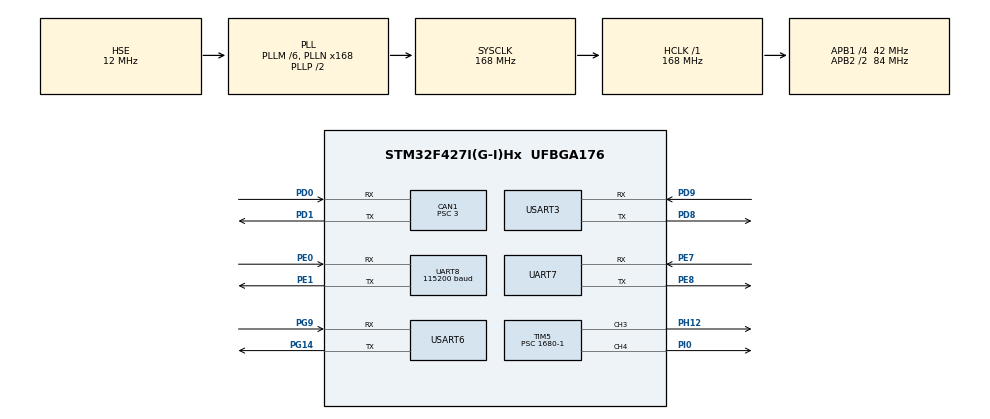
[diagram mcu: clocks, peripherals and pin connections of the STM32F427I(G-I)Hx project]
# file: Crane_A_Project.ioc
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CAN1.BS1=CAN_BS1_10TQ
CAN1.BS2=CAN_BS2_3TQ
CAN1.CalculateBaudRate=1000000
CAN1.CalculateTimeBit=1000
CAN1.CalculateTimeQuantum=71.42857142857143
CAN1.Prescaler=3
Mcu.Family=STM32F4
Mcu.Name=STM32F427I(G-I)Hx
Mcu.Package=UFBGA176
NVIC.CAN1_RX0_IRQn=true\:0\:0\:false\:false\:true\:true\:true\:true
NVIC.PriorityGroup=NVIC_PRIORITYGROUP_4
NVIC.TIM6_DAC_IRQn=true\:0\:0\:false\:false\:true\:true\:true\:true
NVIC.TIM7_IRQn=true\:0\:0\:false\:false\:true\:true\:true\:true
NVIC.UART7_IRQn=true\:0\:0\:false\:false\:true\:true\:true\:true
NVIC.UART8_IRQn=true\:0\:0\:false\:false\:true\:true\:true\:true
NVIC.USART6_IRQn=true\:0\:0\:false\:false\:true\:true\:true\:true
PA13.Mode=Serial_Wire
PA13.Signal=SYS_JTMS-SWDIO
PA14.Mode=Serial_Wire
PA14.Signal=SYS_JTCK-SWCLK
PD0.Mode=CAN_Activate
PD0.Signal=CAN1_RX
PD1.Mode=CAN_Activate
PD1.Signal=CAN1_TX
PD8.Mode=Asynchronous
PD8.Signal=USART3_TX
PD9.Mode=Asynchronous
PD9.Signal=USART3_RX
PE0.Mode=Asynchronous
PE0.Signal=UART8_RX
PE1.Mode=Asynchronous
PE1.Signal=UART8_TX
PE7.Mode=Asynchronous
PE7.Signal=UART7_RX
PE8.Mode=Asynchronous
PE8.Signal=UART7_TX
PG14.Mode=Asynchronous
PG14.Signal=USART6_TX
PG9.Mode=Asynchronous
PG9.Signal=USART6_RX
PH0/OSC_IN.Mode=HSE-External-Oscillator
PH0/OSC_IN.Signal=RCC_OSC_IN
PH1/OSC_OUT.Mode=HSE-External-Oscillator
PH1/OSC_OUT.Signal=RCC_OSC_OUT
PH12.Signal=S_TIM5_CH3
PI0.Signal=S_TIM5_CH4
ProjectManager.HeapSize=0x200
ProjectManager.StackSize=0x400
ProjectManager.TargetToolchain=MDK-ARM V5
RCC.48MHZClocksFreq_Value=84000000
RCC.AHBFreq_Value=168000000
RCC.APB1CLKDivider=RCC_HCLK_DIV4
RCC.APB1Freq_Value=42000000
RCC.APB1TimFreq_Value=84000000
RCC.APB2CLKDivider=RCC_HCLK_DIV2
RCC.APB2Freq_Value=84000000
RCC.APB2TimFreq_Value=168000000
RCC.CortexFreq_Value=168000000
RCC.HCLKFreq_Value=168000000
RCC.HSE_VALUE=12000000
RCC.HSI_VALUE=16000000
RCC.LSE_VALUE=32768
RCC.PLLM=6
RCC.PLLN=168
RCC.PLLSourceVirtual=RCC_PLLSOURCE_HSE
RCC.SYSCLKFreq_VALUE=168000000
RCC.SYSCLKSource=RCC_SYSCLKSOURCE_PLLCLK
RCC.VCOOutputFreq_Value=336000000
SH.S_TIM5_CH3.0=TIM5_CH3,PWM Generation3 CH3
SH.S_TIM5_CH4.0=TIM5_CH4,PWM Generation4 CH4
TIM5.Channel-PWM\ Generation3\ CH3=TIM_CHANNEL_3
TIM5.Channel-PWM\ Generation4\ CH4=TIM_CHANNEL_4
TIM5.Period=1000-1
TIM5.Prescaler=1680-1
TIM6.Period=1000 -1
TIM6.Prescaler=84 - 1
TIM7.Period=1000 - 1
TIM7.Prescaler=84 - 1
UART7.VirtualMode=Asynchronous
UART8.BaudRate=115200
UART8.VirtualMode=Asynchronous
USART3.VirtualMode=VM_ASYNC
USART6.VirtualMode=VM_ASYNC
VP_TIM5_VS_ClockSourceINT.Mode=Internal
VP_TIM6_VS_ClockSourceINT.Mode=Enable_Timer
VP_TIM7_VS_ClockSourceINT.Mode=Enable_Timer
board=custom

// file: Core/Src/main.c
/* USER CODE BEGIN Header */
/**
  ******************************************************************************
  * @file           : main.c
  * @brief          : Main program body
  ******************************************************************************
  * @attention
  *
  * Copyright (c) 2024 STMicroelectronics.
  * All rights reserved.
  *
  * This software is licensed under terms that can be found in the LICENSE file
  * in the root directory of this software component.
  * If no LICENSE file comes with this software, it is provided AS-IS.
  *
  ******************************************************************************
  */
/* USER CODE END Header */
#include "main.h"
#include "can.h"
#include "tim.h"
#include "usart.h"
#include "gpio.h"

/* USER CODE BEGIN Includes */
#include "Emm_V5.h"
#include "stdio.h"
#include "CAN_receive.h"
#include "bsp_can.h"
#include "PID.h"
#include "centre.h"
#include "work.h"
/* USER CODE END Includes */

/* USER CODE BEGIN PTD */

/**
  ******************************************************************************
  * @author         : MashiroZZZ
  * @name           : HaoRan Zhu, Xi Cheng(Vision),KuanXi Huang(PUBG Player)
  * @copyright      : RoboMaster-Base
  ******************************************************************************
  * @attention
  * All rights reserved.
  ******************************************************************************
          _____                    _____
         /\    \                  /\    \
        /::\    \                /::\____\
       /::::\    \              /::::|   |
      /::::::\    \            /:::::|   |
     /:::/\:::\    \          /::::::|   |
    /:::/__\:::\    \        /:::/|::|   |
   /::::\   \:::\    \      /:::/ |::|   |
  /::::::\   \:::\    \    /:::/  |::|___|______
 /:::/\:::\   \:::\____\  /:::/   |::::::::\    \
/:::/  \:::\   \:::|    |/:::/    |:::::::::\____\
\::/   |::::\  /:::|____|\::/    / ~~~~~/:::/    /
 \/____|:::::\/:::/    /  \/____/      /:::/    /
       |:::::::::/    /               /:::/    /
       |::|\::::/    /               /:::/    /
       |::| \::/____/               /:::/    /
       |::|  ~|                    /:::/    /
       |::|   |                   /:::/    /
       \::|   |                  /:::/    /
        \:|   |                  \::/    /
         \|___|                   \/____/

*/

/* USER CODE END PTD */

/* USER CODE BEGIN PD */
#define Motor_Initialization          1
#define Check_Begin_Position          1
#define Check_First_Forward           1
#define Check_First_PullDown          1
#define Check_First_Forward_2_Centre  1
#define Check_Gimbal_CW_First         1
#define Check_First_Centre_Position   1
#define Check_Gimbal_CW_Twice         1
#define Check_Centre_2_Destination    1
#define Check_Twice_PullDown          1
#define Check_Destination_2_Centre    1
#define Check_Gimbal_CW_Third         1
#define Check_Twice_Centre_Position   1
#define Check_Gimbal_CCW_First        1
#define Check_Centre_2_END            1
#define Check_Last_PullDOWN           1
/* USER CODE END PD */

/* USER CODE BEGIN PV */

//串级PID结构体
Cascade_PID gimbal_pid,chassis_pid_1,chassis_pid_2; //云台电机与轮子电机
//电机数据结构体 第三个可以作废 最后修正
MOTOR motor[3];
uint8_t avr_flag = 0;  	//平均速度计数标志位 最后要作废

uint8_t Check_Position_A = 0; //A舵机 行进标志位
uint8_t Check_Position_B = 0; //B舵机 行进标志位
uint8_t Check_Position_C = 0; //C底盘电机 行进标志位

uint8_t First_Time = 0;

//三个M3508电机的PID计算值
int p1 = 0 ;
int p2 = 0 ;
int p3 = 0 ;

//数组存储行进位置标记以及钩取砝码位置确认信息

uint8_t rxBuffer_A[2] = {0};	//接收A处舵机下，
uint8_t rxBuffer_B[2] = {0};	//接收B处舵机下，
uint8_t rxBuffer_C[2] = {0};	//接收导轨黑色停止胶带位置数组

//即将废弃
int16_t num[5][2] = {{18,18},{42,42},{60,60},{58,58},{129,129}}; // 计算数据 暂未实践检验
int32_t CurrentAngle[5][2];	//计算电角度

//标志位
uint16_t Tx_Time = 0;
uint8_t first_flag = 0; //第一次上电标志位 用于记录首次上电电角度

uint8_t SteppingTime = 0;
uint32_t sign,gimbal;		//定时器中断计数值

/* USER CODE END PV */

void SystemClock_Config(void);

int main(void)
{

  /* MCU Configuration--------------------------------------------------------*/

  /* Reset of all peripherals, Initializes the Flash interface and the Systick. */
  HAL_Init();

  /* Configure the system clock */
  SystemClock_Config();

  /* Initialize all configured peripherals */
  MX_GPIO_Init();
  MX_CAN1_Init();
  MX_UART7_Init();
  MX_UART8_Init();
  MX_USART3_UART_Init();
  MX_TIM5_Init();
  MX_TIM6_Init();
  MX_TIM7_Init();
  MX_USART6_UART_Init();
  /* USER CODE BEGIN 2 */

	//启动PWM 控制舵机

	//A处舵机
	HAL_TIM_PWM_Start(&htim5,TIM_CHANNEL_4);
	//B处舵机
	HAL_TIM_PWM_Start(&htim5,TIM_CHANNEL_3);

	//启动CAN通信
	can_filter_init();

	//初始化2个位置的M3508
	cheel_init();

	//开启接收中断
	HAL_UART_Receive_IT(&huart7,rxBuffer_A,sizeof(uint8_t));	//接受A处舵机有无货物数据

	HAL_UART_Receive_IT(&huart8,rxBuffer_B,sizeof(uint8_t));	//接受B处舵机有无货物数据

	HAL_UART_Receive_IT(&huart6,rxBuffer_C,sizeof(uint8_t));	//接收导轨黑色停止胶带位置

	//等待电机初始化
	HAL_Delay(3000);

#if Motor_Initialization
	__HAL_TIM_SET_COMPARE(&htim5,TIM_CHANNEL_4,120);	//A处舵机(即一号舵机)	120水平 100最大
	__HAL_TIM_SET_COMPARE(&htim5,TIM_CHANNEL_3,90);	//B处舵机(即二号舵机) 90水平 120最大
	HAL_Delay(500);
	Work_Up(2,4);
	HAL_Delay(50);
	Work_Up(4,4);
	HAL_Delay(3000);
  //舵机臂初始位置为最里端  (暂定)

#endif

		//本次代码

	//检测开始位置砝码
	//钩取开始位置砝码
#if Check_Begin_Position
  if(Check_Position_A == 0)
  {
      while(rxBuffer_B[0] != '1')   //什么也没收到 一直移动
    {
      Work_Move(3,1,30);
			SteppingTime ++;
      HAL_Delay(160);
    }
    if(rxBuffer_B[0] == '1')    //收到字符1 即为检测到砝码
    {

      Work_Straight(2);
      Check_Position_A = 1;
			if(SteppingTime >28)
			{
				SteppingTime = 0;
				Work_Move(3,0,200);
				HAL_Delay(1500);
			}
			else if (SteppingTime <10)
			{
				SteppingTime = 0;
				Work_Move(3,1,120);
				HAL_Delay(1500);
			}
			else
			{
				SteppingTime = 0;
			}
      rxBuffer_B[0] = '3';    //修改为无意义标识
    }
  }

#endif

//云台前进至钩子在中心物块正上方
#if Check_First_Forward
  if(Check_Position_C == 0)
  {
    while(rxBuffer_C[0] != '1')   //什么也没收到 一直移动
      {
      HAL_Delay(1);
      p1 = PID_calc(&chassis_pid_1.inner,motor[0].speed_rpm,500);
      p2 = PID_calc(&chassis_pid_2.inner,motor[1].speed_rpm,-500);
      CAN_cmd_chassis(p1,p2,0,0);
      }
    if(rxBuffer_C[0] == '1')    //收到字符1 即为检测到停止标识
    {
			Check_Position_C = 1;
        HAL_TIM_Base_Start_IT(&htim6);
      while(sign <1500)
      {
      HAL_Delay(1);
      p1 = PID_calc(&chassis_pid_1.inner,motor[0].speed_rpm,0);
      p2 = PID_calc(&chassis_pid_2.inner,motor[1].speed_rpm,-0);
      CAN_cmd_chassis(p1,p2,0,0);
      }
    }
  }

#endif
  //放下砝码
#if Check_First_PullDown
	if(Check_Position_A == 1)
	{

		HAL_TIM_Base_Stop_IT(&htim6);
		sign = 0;

		while(rxBuffer_B[0] != '2')
		{
		Work_Move(3,1,20);
		HAL_Delay(100);
		}
		if(rxBuffer_B[0] == '2')    //收到字符2 即为检测到木桩
		{
			HAL_Delay(50);
	  	__HAL_TIM_SET_COMPARE(&htim5,TIM_CHANNEL_3,90);
      HAL_Delay(300);
			Work_Move(3,1,15);
			HAL_Delay(1500);
			Work_PullDown(2,2);
			Check_Position_A = 2;
			HAL_Delay(1500);
			rxBuffer_B[0] = '3';    //修改为无意义标识
			HAL_TIM_Base_Start_IT(&htim6);
			}
	}
#endif
	//云台前进至云台位于中心物块正上方
#if Check_First_Forward_2_Centre
	if(Check_Position_C == 1)
	{

		while(sign<500)
		{
			HAL_Delay(1);
			p1 = PID_calc(&chassis_pid_1.inner,motor[0].speed_rpm,500);
			p2 = PID_calc(&chassis_pid_2.inner,motor[1].speed_rpm,-500);
			CAN_cmd_chassis(p1,p2,0,0);

			}
			rxBuffer_C[0] = 0;
			HAL_TIM_Base_Stop_IT(&htim6);
			sign = 0;
			while(rxBuffer_C[0] != '1')
			{
				HAL_Delay(1);
				p1 = PID_calc(&chassis_pid_1.inner,motor[0].speed_rpm,500);
				p2 = PID_calc(&chassis_pid_2.inner,motor[1].speed_rpm,-500);
				CAN_cmd_chassis(p1,p2,0,0);

			}
		if(rxBuffer_C[0] == '1')    //收到字符1 即为检测到停止标识
    {
			Check_Position_C = 2;
      HAL_TIM_Base_Start_IT(&htim6);

      while(sign <1500)
      {
      HAL_Delay(1);
      p1 = PID_calc(&chassis_pid_1.inner,motor[0].speed_rpm,0);
      p2 = PID_calc(&chassis_pid_2.inner,motor[1].speed_rpm,-0);
      CAN_cmd_chassis(p1,p2,0,0);
      }
    }

	}
#endif

	//云台顺时针移动60度
#if Check_Gimbal_CW_First
	if(Check_Position_C == 2)
	{
		HAL_TIM_Base_Stop_IT(&htim6);	//关闭定时器6 停止轮子行进计数
		sign = 0;
		Check_Position_C = 3;

		Work_Move(3,1,130);
		HAL_Delay(50);
    Work_Move(1,0,480);
		Emm_V5_Pos_Control(5,1,500,175,1068,0,0);	//电机逆时针旋转  云台顺时针旋转  534为30度
		HAL_Delay(4000);

	}
#endif

	// 由外向内检测顺时针30度方向砝码
#if Check_First_Centre_Position
  if(Check_Position_A == 2)
  {
      while(rxBuffer_B[0] != '1')   //什么也没收到 一直移动
    {
      Work_Move(3,0,30);
			SteppingTime ++;
      HAL_Delay(160);
    }
    if(rxBuffer_B[0] == '1')    //收到字符1 即为检测到砝码
    {
      Work_Move(3,1,30);
      HAL_Delay(1500);
      Work_Straight(2);
      Check_Position_A = 3;
			if(SteppingTime >28)
			{
				SteppingTime = 0;
				Work_Move(3,1,200);
				HAL_Delay(1500);
			}
			else if (SteppingTime <10)
			{
				SteppingTime = 0;
				Work_Move(3,0,150);
				HAL_Delay(1500);
			}
			else
			{
				SteppingTime = 0;
			}
      rxBuffer_B[0] = '3';    //修改为无意义标识
    }
  }

  if(Check_Position_B == 0)
  {
      while(rxBuffer_A[0] != '1')   //什么也没收到 一直移动
    {
      Work_Move(1,1,30);
			SteppingTime ++;
      HAL_Delay(160);
    }
    if(rxBuffer_A[0] == '1')    //收到字符1 即为检测到砝码
    {
      Work_Move(1,0,30);
      HAL_Delay(1500);
      Work_Straight(1);
      Check_Position_B = 1;
			if(SteppingTime >28)
			{
				SteppingTime = 0;
				Work_Move(1,0,200);
				HAL_Delay(1500);
			}
			else if (SteppingTime <10)
			{
				SteppingTime = 0;
				Work_Move(1,1,150);
				HAL_Delay(1500);
			}
			else
			{
				SteppingTime = 0;
			}
      rxBuffer_A[0] = '3';    //修改为无意义标识
    }

  }
#endif

  //云台顺时针旋转至水平
#if Check_Gimbal_CW_Twice
	if(Check_Position_C == 3)
	{
		Check_Position_C = 4;
		Emm_V5_Pos_Control(5,1,500,175,534,0,0);	//电机逆时针旋转 云台顺时针旋转 534为60度 力臂30度
		HAL_Delay(4000);
		HAL_TIM_Base_Start_IT(&htim6);
	}
#endif

  //前进至末端
#if Check_Centre_2_Destination
   if(Check_Position_C == 4)
  {
		while(sign<6027)
		{
			HAL_Delay(1);
			p1 = PID_calc(&chassis_pid_1.inner,motor[0].speed_rpm,500);
			p2 = PID_calc(&chassis_pid_2.inner,motor[1].speed_rpm,-500);
			CAN_cmd_chassis(p1,p2,0,0);

			}

      while(sign >=5927 &&sign <6927)
      {
      HAL_Delay(1);
      p1 = PID_calc(&chassis_pid_1.inner,motor[0].speed_rpm,0);
      p2 = PID_calc(&chassis_pid_2.inner,motor[1].speed_rpm,-0);
      CAN_cmd_chassis(p1,p2,0,0);
      }
      rxBuffer_C[0] = 0;
			HAL_TIM_Base_Stop_IT(&htim6);
			sign = 0;
			Check_Position_C = 5;
    }
#endif

    //检查木桩
#if Check_Twice_PullDown
    //清除检查过程中出现的问题
    rxBuffer_A[0] = '3';
    rxBuffer_B[0] = '3';

	 if(Check_Position_A == 3)
  {
      while(rxBuffer_B[0] != '2')   //什么也没收到 一直移动
    {
      Work_Move(3,1,25);
      HAL_Delay(180);
    }
    if(rxBuffer_B[0] == '2')    //收到字符2 即为检测到木桩
    {
      //往后多走30mm
      Work_Move(3,1,30);
      HAL_Delay(1000);
	  	__HAL_TIM_SET_COMPARE(&htim5,TIM_CHANNEL_3,90);
      HAL_Delay(300);
			Work_Move(3,1,15);
			HAL_Delay(1500);
      Work_PullDown(2,3);
      Check_Position_A = 4;
      rxBuffer_B[0] = '3';
     }
  }
  	 if(Check_Position_B == 1)
  {
      while(rxBuffer_A[0] != '2')   //什么也没收到 一直移动
    {
      Work_Move(1,0,25);
      HAL_Delay(180);
    }
    if(rxBuffer_A[0] == '2')    //收到字符2 即为检测到木桩
    {
      //往后多走30mm
      Work_Move(1,0,30);
      HAL_Delay(1000);
	  	__HAL_TIM_SET_COMPARE(&htim5,TIM_CHANNEL_4,120);
      HAL_Delay(300);
			Work_Move(1,0,15);
			HAL_Delay(1500);
      Work_PullDown(1,3);
      Check_Position_B = 2;
      rxBuffer_A[0] = '3';
     }
  }
#endif

  //返回中心
#if Check_Destination_2_Centre
  if(Check_Position_C == 5)
  {
    while(rxBuffer_C[0] != '1')   //什么也没收到 一直移动
      {
      HAL_Delay(1);
      p1 = PID_calc(&chassis_pid_1.inner,motor[0].speed_rpm,-500);    //反转
      p2 = PID_calc(&chassis_pid_2.inner,motor[1].speed_rpm,500);
      CAN_cmd_chassis(p1,p2,0,0);
      }
    if(rxBuffer_C[0] == '1')    //收到字符1 即为检测到停止标识
    {
			Check_Position_C = 6;
      HAL_TIM_Base_Start_IT(&htim6);
      while(sign <1500)
      {
      HAL_Delay(1);
      p1 = PID_calc(&chassis_pid_1.inner,motor[0].speed_rpm,0);
      p2 = PID_calc(&chassis_pid_2.inner,motor[1].speed_rpm,-0);
      CAN_cmd_chassis(p1,p2,0,0);
      }
    }
  }

#endif

  //顺时针旋转30度
#if Check_Gimbal_CW_Third
  if(Check_Position_C == 6)
	{
    HAL_TIM_Base_Stop_IT(&htim6);
    sign = 0;
		Check_Position_C = 7;
		Emm_V5_Pos_Control(5,1,500,175,534,0,0);	//电机逆时针旋转  534为60度 力臂30度
		HAL_Delay(4000);

  }
#endif

    //检测逆时针30度上的砝码
#if Check_Twice_Centre_Position
  if(Check_Position_A == 4)
    {
        while(rxBuffer_B[0] != '1')   //什么也没收到 一直移动
      {
        Work_Move(3,0,30);
        SteppingTime ++;
        HAL_Delay(160);
      }
      if(rxBuffer_B[0] == '1')    //收到字符1 即为检测到砝码
      {
         Work_Move(3,1,30);
         HAL_Delay(1500);
        Work_Straight(2);
        Check_Position_A = 5;

        if(SteppingTime >28)
        {
          SteppingTime = 0;
          Work_Move(3,1,200);
          HAL_Delay(1500);
        }

        else if (SteppingTime <10)
        {
          SteppingTime = 0;
          Work_Move(3,0,150);
          HAL_Delay(1500);
        }
        else
        {
          SteppingTime = 0;
        }
        rxBuffer_B[0] = '3';    //修改为无意义标识
      }
    }
  if(Check_Position_B == 2)
    {
        while(rxBuffer_A[0] != '1')   //什么也没收到 一直移动
      {
        Work_Move(1,1,30);
        SteppingTime ++;
        HAL_Delay(160);
      }
      if(rxBuffer_A[0] == '1')    //收到字符1 即为检测到砝码
      {
        Work_Move(1,0,30);
        HAL_Delay(1500);
        Work_Straight(1);
        Check_Position_B = 3;

        if(SteppingTime >28)
        {
          SteppingTime = 0;
          Work_Move(1,0,200);
          HAL_Delay(1500);
        }

        else if (SteppingTime <10)
        {
          SteppingTime = 0;
          Work_Move(1,1,150);
          HAL_Delay(1500);
        }
        else
        {
          SteppingTime = 0;
        }
        rxBuffer_A[0] = '3';    //修改为无意义标识
      }
    }
#endif

    //云台顺时针旋转30度到达水平位置
#if Check_Gimbal_CCW_First
  if(Check_Position_C == 7)
    {
      Check_Position_C = 8;
      Emm_V5_Pos_Control(5,0,500,175,534,0,0);	//电机逆时针旋转  534为60度 力臂30度
      HAL_Delay(4000);
      HAL_TIM_Base_Start_IT(&htim6);
    }
#endif

    //电机出发!!! 到达最终目的地
#if Check_Centre_2_END
 if(Check_Position_C == 8)
  {

		while(sign<4000)
		{
			HAL_Delay(1);
			p1 = PID_calc(&chassis_pid_1.inner,motor[0].speed_rpm,-1000);
			p2 = PID_calc(&chassis_pid_2.inner,motor[1].speed_rpm,1000);
			CAN_cmd_chassis(p1,p2,0,0);

			}
			rxBuffer_C[0] = 0;
			HAL_TIM_Base_Stop_IT(&htim6);
			sign = 0;

			while(rxBuffer_C[0] != '1')
			{
				HAL_Delay(1);
				p1 = PID_calc(&chassis_pid_1.inner,motor[0].speed_rpm,-500);
				p2 = PID_calc(&chassis_pid_2.inner,motor[1].speed_rpm,500);
				CAN_cmd_chassis(p1,p2,0,0);

			}
		if(rxBuffer_C[0] == '1')    //收到字符1 即为检测到停止标识
    {
			Check_Position_C = 9;
      HAL_TIM_Base_Start_IT(&htim6);
      while(sign <1500)
      {
      HAL_Delay(1);
      p1 = PID_calc(&chassis_pid_1.inner,motor[0].speed_rpm,0);
      p2 = PID_calc(&chassis_pid_2.inner,motor[1].speed_rpm,-0);
      CAN_cmd_chassis(p1,p2,0,0);
      }
      HAL_TIM_Base_Stop_IT(&htim6);
			sign = 0;
    }
    //stop

  }
#endif

   //最后的检查----终末的下落检测
#if Check_Last_PullDOWN
    rxBuffer_A[0] = '3';
    rxBuffer_B[0] = '3';

	 if(Check_Position_A == 5)
  {
      while(rxBuffer_B[0] != '2')   //什么也没收到 一直移动
    {
      Work_Move(3,1,25);
      HAL_Delay(180);
    }
    if(rxBuffer_B[0] == '2')    //收到字符2 即为检测到木桩
    {
      Work_Move(3,1,30);
      HAL_Delay(1000);
	  	__HAL_TIM_SET_COMPARE(&htim5,TIM_CHANNEL_3,90);
			Work_Move(3,1,15);
			HAL_Delay(1500);
      Work_PullDown(2,3);
      Check_Position_A = 6;
      rxBuffer_B[0] = '3';
     }
  }
  if(Check_Position_B == 3)
    {
        while(rxBuffer_A[0] != '2')   //什么也没收到 一直移动
      {
        Work_Move(1,0,25);
        HAL_Delay(180);
      }
      if(rxBuffer_A[0] == '2')    //收到字符2 即为检测到木桩
      {
        Work_Move(1,0,30);
        HAL_Delay(1000);
        __HAL_TIM_SET_COMPARE(&htim5,TIM_CHANNEL_4,120);
        HAL_Delay(300);
        Work_Move(3,1,15);
        HAL_Delay(1500);
        Work_PullDown(1,3);
        Check_Position_B = 4;
        rxBuffer_A[0] = '3';
      }
    }
#endif

	//本次代码

  /* USER CODE END 2 */

  /* Infinite loop */
  while ( 1 )
  {

  }
}

void SystemClock_Config(void)
{
  RCC_OscInitTypeDef RCC_OscInitStruct = {0};
  RCC_ClkInitTypeDef RCC_ClkInitStruct = {0};

  /** Configure the main internal regulator output voltage
  */
  __HAL_RCC_PWR_CLK_ENABLE();
  __HAL_PWR_VOLTAGESCALING_CONFIG(PWR_REGULATOR_VOLTAGE_SCALE1);

  /** Initializes the RCC Oscillators according to the specified parameters
  * in the RCC_OscInitTypeDef structure.
  */
  RCC_OscInitStruct.OscillatorType = RCC_OSCILLATORTYPE_HSE;
  RCC_OscInitStruct.HSEState = RCC_HSE_ON;
  RCC_OscInitStruct.PLL.PLLState = RCC_PLL_ON;
  RCC_OscInitStruct.PLL.PLLSource = RCC_PLLSOURCE_HSE;
  RCC_OscInitStruct.PLL.PLLM = 6;
  RCC_OscInitStruct.PLL.PLLN = 168;
  RCC_OscInitStruct.PLL.PLLP = RCC_PLLP_DIV2;
  RCC_OscInitStruct.PLL.PLLQ = 4;
  if (HAL_RCC_OscConfig(&RCC_OscInitStruct) != HAL_OK)
  {
    Error_Handler();
  }

  /** Initializes the CPU, AHB and APB buses clocks
  */
  RCC_ClkInitStruct.ClockType = RCC_CLOCKTYPE_HCLK|RCC_CLOCKTYPE_SYSCLK
                              |RCC_CLOCKTYPE_PCLK1|RCC_CLOCKTYPE_PCLK2;
  RCC_ClkInitStruct.SYSCLKSource = RCC_SYSCLKSOURCE_PLLCLK;
  RCC_ClkInitStruct.AHBCLKDivider = RCC_SYSCLK_DIV1;
  RCC_ClkInitStruct.APB1CLKDivider = RCC_HCLK_DIV4;
  RCC_ClkInitStruct.APB2CLKDivider = RCC_HCLK_DIV2;

  if (HAL_RCC_ClockConfig(&RCC_ClkInitStruct, FLASH_LATENCY_5) != HAL_OK)
  {
    Error_Handler();
  }
}

/* USER CODE BEGIN 4 */
void HAL_UART_RxCpltCallback(UART_HandleTypeDef *huart)
{
	if(huart->Instance == UART8)
	{
		HAL_UART_Receive_IT(&huart8,rxBuffer_B,sizeof(uint8_t));
	}
	if(huart->Instance == UART7)
	{
		HAL_UART_Receive_IT(&huart7,rxBuffer_A,sizeof(uint8_t));
	}
	if(huart->Instance == USART6)
	{
		HAL_UART_Receive_IT(&huart6,rxBuffer_C,sizeof(uint8_t));
	}
}

void HAL_TIM_PeriodElapsedCallback(TIM_HandleTypeDef *htim)
{
	//一毫秒进入一次中断函数
	if(htim->Instance == TIM6)
	{
		sign++;
	}
	if(htim->Instance == TIM7)
	{
		gimbal++;
	}
}

int fputc(int ch, FILE* f)
{
    uint8_t temp[1] = {ch};
    HAL_UART_Transmit(&huart3,temp,1,2);
    return ch;
}
/* USER CODE END 4 */

void Error_Handler(void)
{
	__disable_irq();
  while (1)
  {
  }
}
